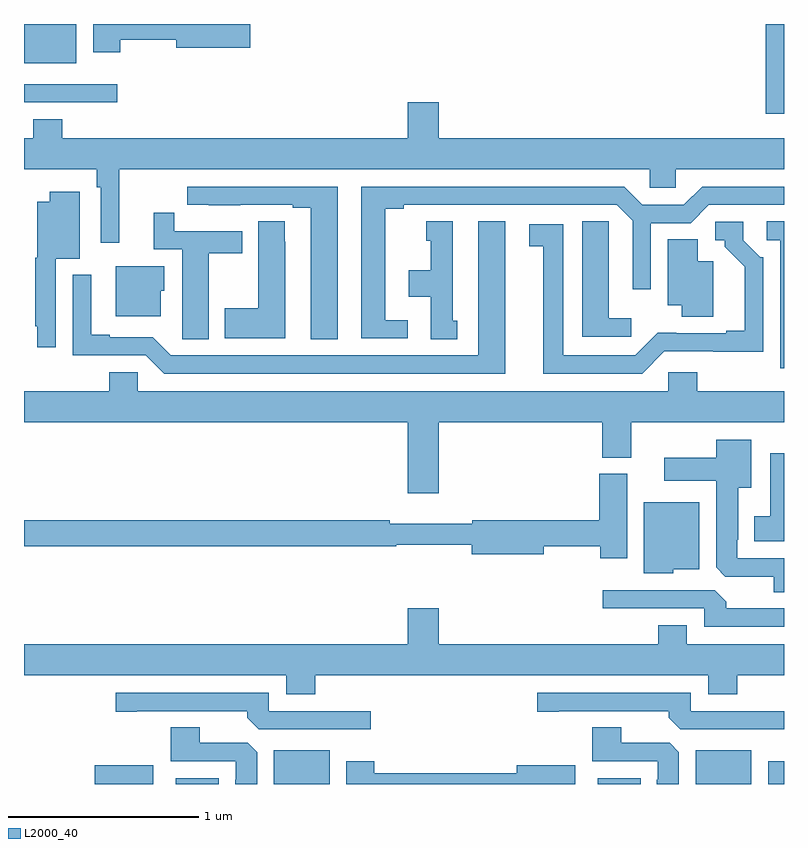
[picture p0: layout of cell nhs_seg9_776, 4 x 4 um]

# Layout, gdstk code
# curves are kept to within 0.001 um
import gdstk
lib = gdstk.Library(unit=1e-6, precision=1e-09)
def R(c, l, rs):  # rectangles x0, y0, x1, y1
    for r in rs: c.add(gdstk.rectangle(r[:2], r[2:], *l))
def P(c, l, *ps):  # polygons
    for p in ps: c.add(gdstk.Polygon(p, *l))
L2000_40 = (2000, 40)

nhs_seg9_776 = lib.new_cell('nhs_seg9_776')
R(nhs_seg9_776, L2000_40, [(151.373,1210.5,151.681,1210.6), (151.799,1210.5,152.026,1210.531), (152.315,1210.5,152.608,1210.678), (154.019,1210.5,154.246,1210.531), (154.535,1210.5,154.828,1210.678), (154.916,1210.5,155,1210.621), (154.903,1214.028,155,1214.5), (151,1214.088,151.492,1214.184), (151,1214.294,151.276,1214.5)])
P(nhs_seg9_776, L2000_40, [(151.506,1214.416),(151.802,1214.416),(151.802,1214.374),(152.191,1214.374),(152.191,1214.5),(151.364,1214.5),(151.364,1214.352),(151.506,1214.352)],
  [(151.202,1213.999),(151.049,1213.999),(151.049,1213.9),(151,1213.9),(151,1213.736),(151.384,1213.736),(151.384,1213.64),(151.404,1213.64),(151.404,1213.35),(151.502,1213.35),(151.502,1213.736),(154.293,1213.736),(154.293,1213.638),(154.431,1213.638),(154.431,1213.736),(155,1213.736),(155,1213.9),(153.184,1213.9),(153.184,1214.089),(153.02,1214.089),(153.02,1213.9),(151.202,1213.9)],
  [(153.019,1212.942),(152.902,1212.942),(152.902,1213.528),(152.998,1213.528),(152.998,1213.548),(154.119,1213.548),(154.203,1213.464),(154.203,1213.104),(154.299,1213.104),(154.299,1213.452),(154.509,1213.452),(154.605,1213.548),(155,1213.548),(155,1213.644),(154.569,1213.644),(154.473,1213.548),(154.255,1213.548),(154.159,1213.644),(152.774,1213.644),(152.774,1212.846),(153.019,1212.846)],
  [(152.65,1213.644),(151.86,1213.644),(151.86,1213.548),(151.972,1213.548),(151.972,1213.547),(152.138,1213.547),(152.138,1213.548),(152.414,1213.548),(152.414,1213.533),(152.51,1213.533),(152.51,1212.841),(152.65,1212.841)],
  [(151.167,1213.265),(151.294,1213.265),(151.294,1213.618),(151.136,1213.618),(151.136,1213.564),(151.07,1213.564),(151.07,1213.269),(151.059,1213.269),(151.059,1212.91),(151.07,1212.91),(151.07,1212.798),(151.167,1212.798)],
  [(151.972,1213.294),(152.149,1213.294),(152.149,1213.41),(151.79,1213.41),(151.79,1213.507),(151.682,1213.507),(151.682,1213.314),(151.832,1213.314),(151.832,1212.952),(151.833,1212.952),(151.833,1212.841),(151.972,1212.841)],
  [(155,1213.463),(154.908,1213.463),(154.908,1213.362),(154.98,1213.362),(154.98,1212.687),(155,1212.687)],
  [(154.195,1212.952),(154.078,1212.952),(154.078,1213.355),(154.077,1213.355),(154.077,1213.463),(153.938,1213.463),(153.938,1212.855),(154.195,1212.855)],
  [(152.374,1213.355),(152.373,1213.355),(152.373,1213.463),(152.234,1213.463),(152.234,1213.005),(152.057,1213.005),(152.057,1212.845),(152.374,1212.845)],
  [(153.532,1213.462),(153.392,1213.462),(153.392,1212.756),(151.773,1212.756),(151.677,1212.852),(151.45,1212.852),(151.45,1212.865),(151.354,1212.865),(151.354,1213.18),(151.257,1213.18),(151.257,1212.756),(151.641,1212.756),(151.737,1212.66),(153.532,1212.66)],
  [(153.28,1212.939),(153.256,1212.939),(153.256,1213.462),(153.116,1213.462),(153.116,1213.359),(153.14,1213.359),(153.14,1213.204),(153.026,1213.204),(153.026,1213.064),(153.14,1213.064),(153.14,1212.841),(153.28,1212.841)],
  [(154.371,1212.777),(154.89,1212.776),(154.89,1213.272),(154.875,1213.272),(154.785,1213.362),(154.785,1213.458),(154.638,1213.458),(154.638,1213.362),(154.688,1213.362),(154.688,1213.327),(154.793,1213.222),(154.793,1212.886),(154.697,1212.886),(154.697,1212.873),(154.336,1212.874),(154.218,1212.756),(153.838,1212.756),(153.838,1213.446),(153.66,1213.446),(153.66,1213.33),(153.734,1213.33),(153.734,1212.66),(154.254,1212.66)],
  [(154.627,1213.252),(154.546,1213.252),(154.546,1213.367),(154.388,1213.367),(154.388,1213.019),(154.463,1213.019),(154.463,1212.958),(154.627,1212.958)],
  [(151.72,1213.095),(151.738,1213.095),(151.738,1213.225),(151.484,1213.225),(151.484,1212.962),(151.72,1212.962)],
  [(153.184,1212.404),(154.043,1212.404),(154.043,1212.217),(154.195,1212.217),(154.195,1212.404),(155,1212.404),(155,1212.568),(154.544,1212.568),(154.544,1212.666),(154.392,1212.666),(154.392,1212.568),(151.599,1212.568),(151.599,1212.666),(151.448,1212.666),(151.448,1212.568),(151,1212.568),(151,1212.404),(153.02,1212.404),(153.02,1212.03),(153.184,1212.03)],
  [(155,1211.688),(154.755,1211.688),(154.755,1211.785),(154.759,1211.785),(154.759,1212.059),(154.828,1212.059),(154.828,1212.313),(154.643,1212.313),(154.643,1212.217),(154.371,1212.217),(154.371,1212.095),(154.643,1212.095),(154.643,1211.641),(154.692,1211.592),(154.946,1211.592),(154.946,1211.509),(155,1211.509)],
  [(155,1212.241),(154.928,1212.241),(154.928,1211.908),(154.844,1211.908),(154.844,1211.777),(155,1211.777)],
  [(154.174,1212.132),(154.028,1212.132),(154.028,1211.888),(153.36,1211.888),(153.36,1211.869),(152.924,1211.869),(152.924,1211.888),(151,1211.888),(151,1211.752),(152.96,1211.752),(152.96,1211.76),(153.356,1211.76),(153.356,1211.71),(153.736,1211.71),(153.736,1211.752),(154.033,1211.752),(154.033,1211.688),(154.174,1211.688)],
  [(154.416,1211.63),(154.555,1211.63),(154.555,1211.983),(154.262,1211.983),(154.262,1211.609),(154.416,1211.609)],
  [(155,1211.424),(154.697,1211.424),(154.697,1211.458),(154.635,1211.52),(154.047,1211.52),(154.047,1211.424),(154.581,1211.424),(154.581,1211.328),(155,1211.328)],
  [(152.534,1211.072),(154.601,1211.072),(154.601,1210.973),(154.754,1210.973),(154.754,1211.072),(155,1211.072),(155,1211.236),(154.489,1211.236),(154.489,1211.335),(154.337,1211.335),(154.337,1211.236),(153.184,1211.236),(153.184,1211.425),(153.02,1211.425),(153.02,1211.236),(151,1211.236),(151,1211.072),(152.381,1211.072),(152.381,1210.973),(152.534,1210.973)],
  [(155,1210.884),(154.509,1210.884),(154.509,1210.98),(153.702,1210.98),(153.702,1210.879),(153.814,1210.879),(153.814,1210.884),(154.394,1210.884),(154.394,1210.85),(154.455,1210.788),(155,1210.788)],
  [(152.824,1210.884),(152.289,1210.884),(152.289,1210.98),(151.482,1210.98),(151.482,1210.879),(151.594,1210.879),(151.594,1210.884),(152.174,1210.884),(152.174,1210.85),(152.235,1210.788),(152.824,1210.788)],
  [(154.447,1210.667),(154.398,1210.716),(154.144,1210.716),(154.144,1210.799),(153.992,1210.799),(153.992,1210.62),(154.335,1210.62),(154.335,1210.523),(154.331,1210.523),(154.331,1210.5),(154.447,1210.5)],
  [(152.227,1210.667),(152.178,1210.716),(151.924,1210.716),(151.924,1210.799),(151.772,1210.799),(151.772,1210.62),(152.115,1210.62),(152.115,1210.523),(152.111,1210.523),(152.111,1210.5),(152.227,1210.5)],
  [(153.901,1210.6),(153.593,1210.6),(153.593,1210.556),(152.843,1210.556),(152.843,1210.621),(152.696,1210.621),(152.696,1210.5),(153.901,1210.5)])

lib.write_gds('nhs_seg9_776.gds')
